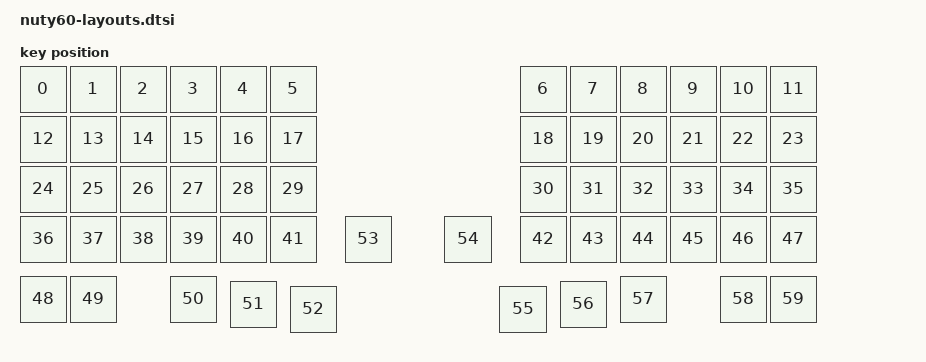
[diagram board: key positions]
#include <physical_layouts.dtsi>

/ {
    physical_layout0: physical_layout_0 {
        compatible = "zmk,physical-layout";
        display-name = "Nuty60" ;

        keys  //                     w   h    x    y     rot    rx    ry
            = <&key_physical_attrs 100 100    0    0       0     0     0>
            , <&key_physical_attrs 100 100  100    0       0     0     0>
            , <&key_physical_attrs 100 100  200    0       0     0     0>
            , <&key_physical_attrs 100 100  300    0       0     0     0>
            , <&key_physical_attrs 100 100  400    0       0     0     0>
            , <&key_physical_attrs 100 100  500    0       0     0     0>
            , <&key_physical_attrs 100 100  1000   0       0     0     0>
            , <&key_physical_attrs 100 100  1100   0       0     0     0>
            , <&key_physical_attrs 100 100  1200   0       0     0     0>
            , <&key_physical_attrs 100 100  1300   0       0     0     0>
            , <&key_physical_attrs 100 100  1400   0       0     0     0>
            , <&key_physical_attrs 100 100  1500   0       0     0     0>

            , <&key_physical_attrs 100 100    0    100       0     0     0>
            , <&key_physical_attrs 100 100  100    100       0     0     0>
            , <&key_physical_attrs 100 100  200    100       0     0     0>
            , <&key_physical_attrs 100 100  300    100       0     0     0>
            , <&key_physical_attrs 100 100  400    100       0     0     0>
            , <&key_physical_attrs 100 100  500    100       0     0     0>
            , <&key_physical_attrs 100 100  1000   100       0     0     0>
            , <&key_physical_attrs 100 100  1100   100       0     0     0>
            , <&key_physical_attrs 100 100  1200   100       0     0     0>
            , <&key_physical_attrs 100 100  1300   100       0     0     0>
            , <&key_physical_attrs 100 100  1400   100       0     0     0>
            , <&key_physical_attrs 100 100  1500   100       0     0     0>


            , <&key_physical_attrs 100 100    0    200       0     0     0>
            , <&key_physical_attrs 100 100  100    200       0     0     0>
            , <&key_physical_attrs 100 100  200    200       0     0     0>
            , <&key_physical_attrs 100 100  300    200       0     0     0>
            , <&key_physical_attrs 100 100  400    200       0     0     0>
            , <&key_physical_attrs 100 100  500    200       0     0     0>
            , <&key_physical_attrs 100 100  1000   200       0     0     0>
            , <&key_physical_attrs 100 100  1100   200       0     0     0>
            , <&key_physical_attrs 100 100  1200   200       0     0     0>
            , <&key_physical_attrs 100 100  1300   200       0     0     0>
            , <&key_physical_attrs 100 100  1400   200       0     0     0>
            , <&key_physical_attrs 100 100  1500   200       0     0     0>

            , <&key_physical_attrs 100 100    0    300       0     0     0>
            , <&key_physical_attrs 100 100  100    300       0     0     0>
            , <&key_physical_attrs 100 100  200    300       0     0     0>
            , <&key_physical_attrs 100 100  300    300       0     0     0>
            , <&key_physical_attrs 100 100  400    300       0     0     0>
            , <&key_physical_attrs 100 100  500    300       0     0     0>
            , <&key_physical_attrs 100 100  1000   300       0     0     0>
            , <&key_physical_attrs 100 100  1100   300       0     0     0>
            , <&key_physical_attrs 100 100  1200   300       0     0     0>
            , <&key_physical_attrs 100 100  1300   300       0     0     0>
            , <&key_physical_attrs 100 100  1400   300       0     0     0>
            , <&key_physical_attrs 100 100  1500   300       0     0     0>
            

            , <&key_physical_attrs 100 100  0    420       0         0     0>
            , <&key_physical_attrs 100 100  100    420       0         0     0>
            , <&key_physical_attrs 100 100  300    420       0         0     0>
            , <&key_physical_attrs 100 100  420    430       0         0     0>
            , <&key_physical_attrs 100 100  540    440       0         0     0>
            , <&key_physical_attrs 100 100  650    300       0         0     0>

            , <&key_physical_attrs 100 100  850    300       0         0     0>
            , <&key_physical_attrs 100 100  960    440       0         0     0>
            , <&key_physical_attrs 100 100  1080   430       0         0     0>
            , <&key_physical_attrs 100 100  1200   420       0         0     0>
            , <&key_physical_attrs 100 100  1400   420       0         0     0>
            , <&key_physical_attrs 100 100  1500   420       0         0     0>

            ;
    };



};
